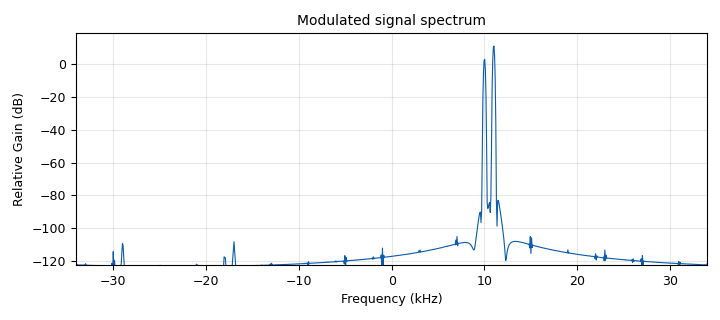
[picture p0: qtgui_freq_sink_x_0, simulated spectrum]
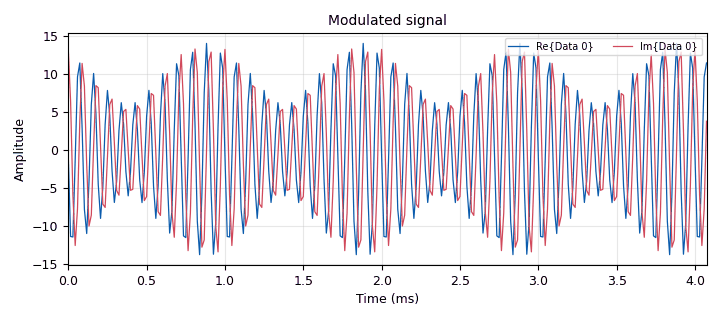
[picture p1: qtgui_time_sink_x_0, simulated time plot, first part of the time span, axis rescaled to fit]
options:
  parameters:
    author: Comm Lab
    generate_options: qt_gui
    id: Amplitude_Modulation
    output_language: python
    title: Not titled yet
  states: {}

blocks:
- name: samp_rate
  id: variable
  parameters:
    value: '68000'
  states: {}
- name: analog_am_demod_cf_0
  id: analog_am_demod_cf
  parameters:
    audio_decim: '1'
    audio_pass: '500'
    audio_stop: '1500'
    chan_rate: samp_rate
  states: {}
- name: analog_const_source_x_0
  id: analog_const_source_x
  parameters:
    const: '1'
    type: complex
  states: {}
- name: analog_const_source_x_1
  id: analog_const_source_x
  parameters:
    const: '2'
    type: complex
  states: {}
- name: analog_sig_source_x_0
  id: analog_sig_source_x
  parameters:
    amp: '10'
    freq: '1000'
    offset: '0'
    phase: '0'
    samp_rate: samp_rate
    type: complex
    waveform: analog.GR_COS_WAVE
  states: {}
- name: analog_sig_source_x_1
  id: analog_sig_source_x
  parameters:
    amp: '2'
    freq: '10000'
    offset: '0'
    phase: '0'
    samp_rate: samp_rate
    type: complex
    waveform: analog.GR_COS_WAVE
  states: {}
- name: blocks_add_xx_0
  id: blocks_add_xx
  parameters:
    type: complex
  states: {}
- name: blocks_multiply_const_vxx_0
  id: blocks_multiply_const_vxx
  parameters:
    const: '.25'
    type: complex
  states: {}
- name: blocks_multiply_xx_0
  id: blocks_multiply_xx
  parameters:
    type: complex
  states: {}
- name: blocks_multiply_xx_1
  id: blocks_multiply_xx
  parameters:
    type: complex
  states: {}
- name: iio_pluto_sink_0
  id: iio_pluto_sink
  parameters:
    attenuation1: '0'
    bandwidth: '20000000'
    buffer_size: '32768'
    cyclic: 'False'
    filter_source: '''Auto'''
    frequency: '2400000000'
    samplerate: samp_rate
    type: fc32
    uri: 192.168.2.1
  states: {}
- name: iio_pluto_source_0
  id: iio_pluto_source
  parameters:
    bandwidth: '20000000'
    bbdc: 'True'
    buffer_size: '32768'
    filter_source: '''Auto'''
    frequency: '2400000000'
    gain1: '''manual'''
    manual_gain1: '60'
    quadrature: 'True'
    rfdc: 'True'
    samplerate: samp_rate
    type: fc32
    uri: 192.168.2.1
  states: {}
- name: qtgui_freq_sink_x_0
  id: qtgui_freq_sink_x
  parameters:
    autoscale: 'True'
    bw: samp_rate
    fc: '0'
    fftsize: '1024'
    grid: 'True'
    name: '"Modulated signal spectrum"'
    type: complex
  states: {}
- name: qtgui_freq_sink_x_1
  id: qtgui_freq_sink_x
  parameters:
    bw: samp_rate
    fc: '1000'
    fftsize: '1024'
    name: '"Demod FFT"'
    type: float
  states: {}
- name: qtgui_time_sink_x_0
  id: qtgui_time_sink_x
  parameters:
    entags: 'False'
    name: '"Modulated signal"'
    size: '1024'
    srate: samp_rate
    type: complex
  states: {}
- name: qtgui_time_sink_x_1
  id: qtgui_time_sink_x
  parameters:
    autoscale: 'True'
    grid: 'True'
    name: '"Demod_signal"'
    size: '1024'
    srate: samp_rate
    type: float
  states: {}

connections:
- [analog_am_demod_cf_0, '0', qtgui_freq_sink_x_1, '0']
- [analog_am_demod_cf_0, '0', qtgui_time_sink_x_1, '0']
- [analog_const_source_x_0, '0', blocks_add_xx_0, '1']
- [analog_const_source_x_1, '0', blocks_multiply_xx_0, '0']
- [analog_sig_source_x_0, '0', blocks_multiply_const_vxx_0, '0']
- [analog_sig_source_x_1, '0', blocks_multiply_xx_1, '1']
- [blocks_add_xx_0, '0', blocks_multiply_xx_0, '1']
- [blocks_multiply_const_vxx_0, '0', blocks_add_xx_0, '0']
- [blocks_multiply_xx_0, '0', blocks_multiply_xx_1, '0']
- [blocks_multiply_xx_1, '0', iio_pluto_sink_0, '0']
- [blocks_multiply_xx_1, '0', qtgui_freq_sink_x_0, '0']
- [blocks_multiply_xx_1, '0', qtgui_time_sink_x_0, '0']
- [iio_pluto_source_0, '0', analog_am_demod_cf_0, '0']

metadata:
  file_format: 1
